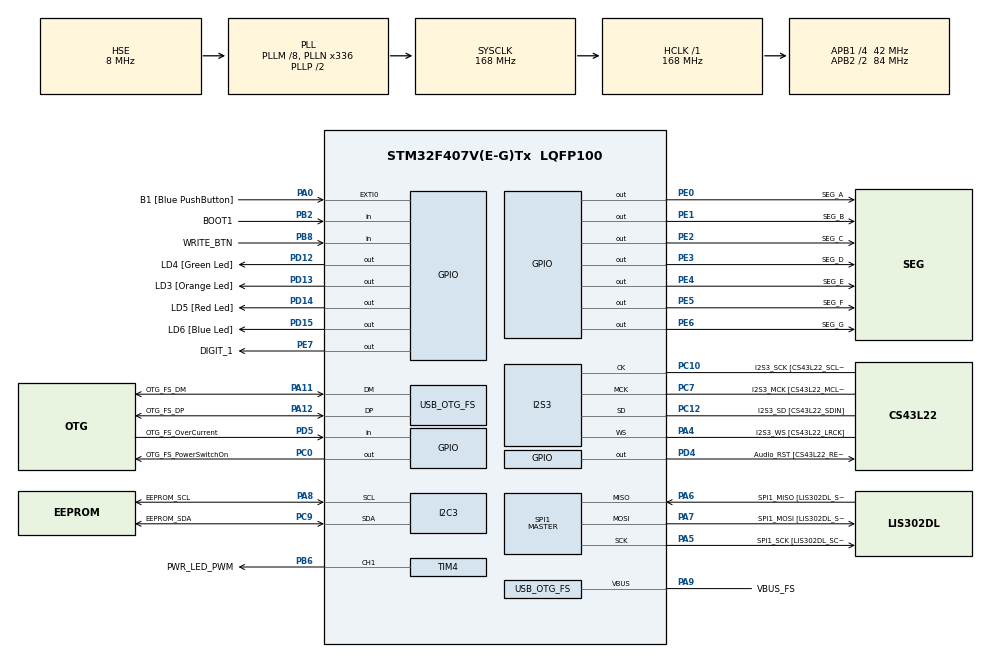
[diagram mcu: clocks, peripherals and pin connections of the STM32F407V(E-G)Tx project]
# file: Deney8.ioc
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I2S3.AudioFreq-Half_Duplex_Master=I2S_AUDIOFREQ_96K
I2S3.ErrorAudioFreq=-2.34 %
I2S3.ErrorAudioFreq-Half_Duplex_Master=0.8 %
I2S3.FullDuplexMode=I2S_FULLDUPLEXMODE_DISABLE
I2S3.Instance=SPI$Index
I2S3.RealAudioFreq=93.75 KHz
I2S3.RealAudioFreq-Half_Duplex_Master=96.774 KHz
I2S3.VirtualMode=I2S_MODE_MASTER
Mcu.Family=STM32F4
Mcu.Name=STM32F407V(E-G)Tx
Mcu.Package=LQFP100
NVIC.OTG_FS_IRQn=true\:0\:0\:false\:false\:true\:true\:true\:true
NVIC.PriorityGroup=NVIC_PRIORITYGROUP_0
PA0-WKUP.GPIO_Label=B1 [Blue PushButton]
PA0-WKUP.GPIO_ModeDefaultEXTI=GPIO_MODE_EVT_RISING
PA0-WKUP.GPIO_PuPd=GPIO_NOPULL
PA0-WKUP.Signal=GPXTI0
PA10.GPIO_Label=OTG_FS_ID
PA10.GPIO_Mode=GPIO_MODE_AF_PP
PA10.GPIO_PuPd=GPIO_NOPULL
PA10.GPIO_Speed=GPIO_SPEED_FREQ_LOW
PA10.Signal=USB_OTG_FS_ID
PA11.GPIO_Label=OTG_FS_DM
PA11.GPIO_Mode=GPIO_MODE_AF_PP
PA11.GPIO_PuPd=GPIO_NOPULL
PA11.GPIO_Speed=GPIO_SPEED_FREQ_LOW
PA11.Mode=Host_Only
PA11.Signal=USB_OTG_FS_DM
PA12.GPIO_Label=OTG_FS_DP
PA12.GPIO_Mode=GPIO_MODE_AF_PP
PA12.GPIO_PuPd=GPIO_NOPULL
PA12.GPIO_Speed=GPIO_SPEED_FREQ_LOW
PA12.Mode=Host_Only
PA12.Signal=USB_OTG_FS_DP
PA13.GPIO_Label=SWDIO
PA13.Mode=Serial_Wire
PA13.Signal=SYS_JTMS-SWDIO
PA14.GPIO_Label=SWCLK
PA14.Mode=Serial_Wire
PA14.Signal=SYS_JTCK-SWCLK
PA4.GPIO_Label=I2S3_WS [CS43L22_LRCK]
PA4.GPIO_Mode=GPIO_MODE_AF_PP
PA4.GPIO_PuPd=GPIO_NOPULL
PA4.GPIO_Speed=GPIO_SPEED_FREQ_LOW
PA4.Mode=Half_Duplex_Master
PA4.Signal=I2S3_WS
PA5.GPIO_Label=SPI1_SCK [LIS302DL_SCL/SPC]
PA5.GPIO_Mode=GPIO_MODE_AF_PP
PA5.GPIO_PuPd=GPIO_NOPULL
PA5.GPIO_Speed=GPIO_SPEED_FREQ_LOW
PA5.Mode=Full_Duplex_Master
PA5.Signal=SPI1_SCK
PA6.GPIO_Label=SPI1_MISO [LIS302DL_SDO]
PA6.GPIO_Mode=GPIO_MODE_AF_PP
PA6.GPIO_PuPd=GPIO_NOPULL
PA6.GPIO_Speed=GPIO_SPEED_FREQ_LOW
PA6.Mode=Full_Duplex_Master
PA6.Signal=SPI1_MISO
PA7.GPIO_Label=SPI1_MOSI [LIS302DL_SDA/SDI/SDO]
PA7.GPIO_Mode=GPIO_MODE_AF_PP
PA7.GPIO_PuPd=GPIO_NOPULL
PA7.GPIO_Speed=GPIO_SPEED_FREQ_LOW
PA7.Mode=Full_Duplex_Master
PA7.Signal=SPI1_MOSI
PA8.GPIO_Label=EEPROM_SCL
PA8.Mode=I2C
PA8.Signal=I2C3_SCL
PA9.GPIO_Label=VBUS_FS
PA9.GPIO_Mode=GPIO_MODE_INPUT
PA9.GPIO_PuPd=GPIO_NOPULL
PA9.Mode=Activate_VBUS
PA9.Signal=USB_OTG_FS_VBUS
PB10.GPIO_Label=CLK_IN [MP45DT02_CLK]
PB10.GPIO_Mode=GPIO_MODE_AF_PP
PB10.GPIO_PuPd=GPIO_NOPULL
PB10.GPIO_Speed=GPIO_SPEED_FREQ_LOW
PB10.Signal=I2S2_CK
PB2.GPIO_Label=BOOT1
PB2.GPIO_Mode=GPIO_MODE_INPUT
PB2.GPIO_PuPd=GPIO_NOPULL
PB2.Signal=GPIO_Input
PB3.GPIO_Label=SWO
PB3.Signal=SYS_JTDO-SWO
PB6.GPIO_Label=PWR_LED_PWM
PB6.Signal=S_TIM4_CH1
PB8.GPIO_Label=WRITE_BTN
PB8.GPIO_PuPd=GPIO_PULLDOWN
PB8.Signal=GPIO_Input
PB9.GPIO_Label=Audio_SDA [CS43L22_SDA]
PB9.GPIO_Mode=GPIO_MODE_AF_OD
PB9.GPIO_Pu=GPIO_PULLUP
PB9.GPIO_PuPd=GPIO_NOPULL
PB9.GPIO_Speed=GPIO_SPEED_FREQ_LOW
PB9.Signal=I2C1_SDA
PC0.GPIO_Label=OTG_FS_PowerSwitchOn
PC0.GPIO_PuPd=GPIO_NOPULL
PC0.GPIO_Speed=GPIO_SPEED_FREQ_LOW
PC0.PinState=GPIO_PIN_SET
PC0.Signal=GPIO_Output
PC10.GPIO_Label=I2S3_SCK [CS43L22_SCLK]
PC10.GPIO_Mode=GPIO_MODE_AF_PP
PC10.GPIO_PuPd=GPIO_NOPULL
PC10.GPIO_Speed=GPIO_SPEED_FREQ_LOW
PC10.Mode=Half_Duplex_Master
PC10.Signal=I2S3_CK
PC12.GPIO_Label=I2S3_SD [CS43L22_SDIN]
PC12.GPIO_Mode=GPIO_MODE_AF_PP
PC12.GPIO_PuPd=GPIO_NOPULL
PC12.GPIO_Speed=GPIO_SPEED_FREQ_LOW
PC12.Mode=Half_Duplex_Master
PC12.Signal=I2S3_SD
PC14-OSC32_IN.GPIO_Label=PC14-OSC32_IN
PC14-OSC32_IN.Mode=LSE-External-Oscillator
PC14-OSC32_IN.Signal=RCC_OSC32_IN
PC15-OSC32_OUT.GPIO_Label=PC15-OSC32_OUT
PC15-OSC32_OUT.Mode=LSE-External-Oscillator
PC15-OSC32_OUT.Signal=RCC_OSC32_OUT
PC3.GPIO_Label=PDM_OUT [MP45DT02_DOUT]
PC3.GPIO_Mode=GPIO_MODE_AF_PP
PC3.GPIO_PuPd=GPIO_NOPULL
PC3.GPIO_Speed=GPIO_SPEED_FREQ_LOW
PC3.Signal=I2S2_SD
PC7.GPIO_Label=I2S3_MCK [CS43L22_MCLK]
PC7.GPIO_Mode=GPIO_MODE_AF_PP
PC7.GPIO_PuPd=GPIO_NOPULL
PC7.GPIO_Speed=GPIO_SPEED_FREQ_LOW
PC7.Mode=Master_Clock_Activated
PC7.Signal=I2S3_MCK
PC9.GPIO_Label=EEPROM_SDA
PC9.Mode=I2C
PC9.Signal=I2C3_SDA
PD12.GPIO_Label=LD4 [Green Led]
PD12.GPIO_PuPd=GPIO_NOPULL
PD12.GPIO_Speed=GPIO_SPEED_FREQ_LOW
PD12.Signal=GPIO_Output
PD13.GPIO_Label=LD3 [Orange Led]
PD13.GPIO_PuPd=GPIO_NOPULL
PD13.GPIO_Speed=GPIO_SPEED_FREQ_LOW
PD13.Signal=GPIO_Output
PD14.GPIO_Label=LD5 [Red Led]
PD14.GPIO_PuPd=GPIO_NOPULL
PD14.GPIO_Speed=GPIO_SPEED_FREQ_LOW
PD14.Signal=GPIO_Output
PD15.GPIO_Label=LD6 [Blue Led]
PD15.GPIO_PuPd=GPIO_NOPULL
PD15.GPIO_Speed=GPIO_SPEED_FREQ_LOW
PD15.Signal=GPIO_Output
PD4.GPIO_Label=Audio_RST [CS43L22_RESET]
PD4.GPIO_PuPd=GPIO_NOPULL
PD4.GPIO_Speed=GPIO_SPEED_FREQ_LOW
PD4.Signal=GPIO_Output
PD5.GPIO_Label=OTG_FS_OverCurrent
PD5.GPIO_Mode=GPIO_MODE_INPUT
PD5.GPIO_PuPd=GPIO_NOPULL
PD5.Signal=GPIO_Input
PE0.GPIO_Label=SEG_A
PE0.Signal=GPIO_Output
PE1.GPIO_Label=SEG_B
PE1.Signal=GPIO_Output
PE2.GPIO_Label=SEG_C
PE2.Signal=GPIO_Output
PE3.GPIO_Label=SEG_D
PE3.Signal=GPIO_Output
PE4.GPIO_Label=SEG_E
PE4.Signal=GPIO_Output
PE5.GPIO_Label=SEG_F
PE5.Signal=GPIO_Output
PE6.GPIO_Label=SEG_G
PE6.Signal=GPIO_Output
PE7.GPIO_Label=DIGIT_1
PE7.Signal=GPIO_Output
PH0-OSC_IN.GPIO_Label=PH0-OSC_IN
PH0-OSC_IN.Mode=HSE-External-Oscillator
PH0-OSC_IN.Signal=RCC_OSC_IN
PH1-OSC_OUT.GPIO_Label=PH1-OSC_OUT
PH1-OSC_OUT.Mode=HSE-External-Oscillator
PH1-OSC_OUT.Signal=RCC_OSC_OUT
ProjectManager.HeapSize=0x200
ProjectManager.StackSize=0x400
ProjectManager.TargetToolchain=STM32CubeIDE
RCC.48MHZClocksFreq_Value=48000000
RCC.AHBFreq_Value=168000000
RCC.APB1CLKDivider=RCC_HCLK_DIV4
RCC.APB1Freq_Value=42000000
RCC.APB1TimFreq_Value=84000000
RCC.APB2CLKDivider=RCC_HCLK_DIV2
RCC.APB2Freq_Value=84000000
RCC.APB2TimFreq_Value=168000000
RCC.CortexFreq_Value=168000000
RCC.HCLKFreq_Value=168000000
RCC.HSE_VALUE=8000000
RCC.HSI_VALUE=16000000
RCC.PLLM=8
RCC.PLLN=336
RCC.PLLQ=7
RCC.SYSCLKFreq_VALUE=168000000
RCC.SYSCLKSource=RCC_SYSCLKSOURCE_PLLCLK
RCC.VCOOutputFreq_Value=336000000
SH.S_TIM4_CH1.0=TIM4_CH1,PWM Generation1 CH1
SPI1.BaudRatePrescaler-Full_Duplex_Master=SPI_BAUDRATEPRESCALER_2
SPI1.CalculateBaudRate-Full_Duplex_Master=42.0 MBits/s
SPI1.Direction=SPI_DIRECTION_2LINES
SPI1.Mode=SPI_MODE_MASTER
SPI1.Mode-Full_Duplex_Master=SPI_MODE_MASTER
SPI1.VirtualType=VM_MASTER
TIM4.Channel-PWM\ Generation1\ CH1=TIM_CHANNEL_1
TIM4.Period=1000-1
TIM4.Prescaler=84-1
USB_HOST.BSP.number=1
USB_HOST.USBH_HandleTypeDef-CDC_FS=hUsbHostFS
USB_HOST.VirtualModeFS=Cdc
USB_HOST0.BSP.STBoard=false
USB_HOST0.BSP.api=Unknown
USB_HOST0.BSP.instance=PC0
USB_HOST0.BSP.ip=GPIO
USB_HOST0.BSP.mode=Output
USB_HOST0.BSP.name=Drive_VBUS_FS
USB_HOST0.BSP.solution=PC0
USB_OTG_FS.VirtualMode=Host_Only
USB_OTG_FS.phy_itface=HCD_PHY_EMBEDDED
VP_TIM4_VS_ClockSourceINT.Mode=Internal
VP_USB_HOST_VS_USB_HOST_CDC_FS.Mode=CDC_FS
board=STM32F407G-DISC1

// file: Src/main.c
/* USER CODE BEGIN Header */
/**
  ******************************************************************************
  * @file           : main.c
  * @brief          : Main program body
  ******************************************************************************
  * @attention
  *
  * Copyright (c) 2026 STMicroelectronics.
  * All rights reserved.
  *
  * This software is licensed under terms that can be found in the LICENSE file
  * in the root directory of this software component.
  * If no LICENSE file comes with this software, it is provided AS-IS.
  *
  ******************************************************************************
  */
/* USER CODE END Header */
#include "main.h"
#include "usb_host.h"

I2C_HandleTypeDef hi2c3;

I2S_HandleTypeDef hi2s3;

SPI_HandleTypeDef hspi1;

TIM_HandleTypeDef htim4;

/* USER CODE BEGIN PV */
uint8_t sayac = 0;        // EEPROM'a yazılacak ve okunacak ana değer
uint8_t okunan_deger = 0; // Karşılaştırma için geçici değişken

// 7-Segment Ortak Katot Rakam Map Tablosu (0-9 arası)
uint8_t segment_map[10] = {0x3F, 0x06, 0x5B, 0x4F, 0x66, 0x6D, 0x7D, 0x07, 0x7F, 0x6F};

#define EEPROM_ADDR 0xA2 // ArmApp-18 EEPROM I2C Adresi
/* USER CODE END PV */

void SystemClock_Config(void);
static void MX_GPIO_Init(void);
static void MX_I2S3_Init(void);
static void MX_SPI1_Init(void);
static void MX_I2C3_Init(void);
static void MX_TIM4_Init(void);
void MX_USB_HOST_Process(void);

/* USER CODE BEGIN PFP */
void EEPROM_Write(uint16_t addr, uint8_t data);
uint8_t EEPROM_Read(uint16_t addr);
void Rakam_Bas(uint8_t rakam);
/* USER CODE END PFP */

int main(void)
{

  /* MCU Configuration--------------------------------------------------------*/

  /* Reset of all peripherals, Initializes the Flash interface and the Systick. */
  HAL_Init();

  /* Configure the system clock */
  SystemClock_Config();

  /* Initialize all configured peripherals */
  MX_GPIO_Init();
  MX_I2S3_Init();
  MX_SPI1_Init();
  MX_USB_HOST_Init();
  MX_I2C3_Init();
  MX_TIM4_Init();
  /* USER CODE BEGIN 2 */
  HAL_TIM_PWM_Start(&htim4, TIM_CHANNEL_1); // Power LED PWM birimini başlat
  __HAL_TIM_SET_COMPARE(&htim4, TIM_CHANNEL_1, 100); // Başlangıç parlaklığı (%10)
  HAL_Delay(100); // EEPROM hazırlanma süresi

  sayac = EEPROM_Read(0x0001); // Son kaydedilen değeri oku
  if(sayac > 9) sayac = 0;     // Hatalı değer varsa sıfırla
  /* USER CODE END 2 */

  /* Infinite loop */
  /* USER CODE BEGIN WHILE */
    while (1) {
        Rakam_Bas(sayac);

        if(HAL_GPIO_ReadPin(WRITE_BTN_GPIO_Port, WRITE_BTN_Pin) == GPIO_PIN_SET) {
            HAL_Delay(50);

            if(HAL_GPIO_ReadPin(WRITE_BTN_GPIO_Port, WRITE_BTN_Pin) == GPIO_PIN_SET) {
                __HAL_TIM_SET_COMPARE(&htim4, TIM_CHANNEL_1, 900);

                sayac = (sayac + 1) % 10;
                EEPROM_Write(0x0001, sayac);

                while(HAL_GPIO_ReadPin(WRITE_BTN_GPIO_Port, WRITE_BTN_Pin) == GPIO_PIN_SET);
                HAL_Delay(50);

                __HAL_TIM_SET_COMPARE(&htim4, TIM_CHANNEL_1, 100);
            }
        }
      /* USER CODE END WHILE */
      MX_USB_HOST_Process();
    }
}

void SystemClock_Config(void)
{
  RCC_OscInitTypeDef RCC_OscInitStruct = {0};
  RCC_ClkInitTypeDef RCC_ClkInitStruct = {0};

  /** Configure the main internal regulator output voltage
  */
  __HAL_RCC_PWR_CLK_ENABLE();
  __HAL_PWR_VOLTAGESCALING_CONFIG(PWR_REGULATOR_VOLTAGE_SCALE1);

  /** Initializes the RCC Oscillators according to the specified parameters
  * in the RCC_OscInitTypeDef structure.
  */
  RCC_OscInitStruct.OscillatorType = RCC_OSCILLATORTYPE_HSE;
  RCC_OscInitStruct.HSEState = RCC_HSE_ON;
  RCC_OscInitStruct.PLL.PLLState = RCC_PLL_ON;
  RCC_OscInitStruct.PLL.PLLSource = RCC_PLLSOURCE_HSE;
  RCC_OscInitStruct.PLL.PLLM = 8;
  RCC_OscInitStruct.PLL.PLLN = 336;
  RCC_OscInitStruct.PLL.PLLP = RCC_PLLP_DIV2;
  RCC_OscInitStruct.PLL.PLLQ = 7;
  if (HAL_RCC_OscConfig(&RCC_OscInitStruct) != HAL_OK)
  {
    Error_Handler();
  }

  /** Initializes the CPU, AHB and APB buses clocks
  */
  RCC_ClkInitStruct.ClockType = RCC_CLOCKTYPE_HCLK|RCC_CLOCKTYPE_SYSCLK
                              |RCC_CLOCKTYPE_PCLK1|RCC_CLOCKTYPE_PCLK2;
  RCC_ClkInitStruct.SYSCLKSource = RCC_SYSCLKSOURCE_PLLCLK;
  RCC_ClkInitStruct.AHBCLKDivider = RCC_SYSCLK_DIV1;
  RCC_ClkInitStruct.APB1CLKDivider = RCC_HCLK_DIV4;
  RCC_ClkInitStruct.APB2CLKDivider = RCC_HCLK_DIV2;

  if (HAL_RCC_ClockConfig(&RCC_ClkInitStruct, FLASH_LATENCY_5) != HAL_OK)
  {
    Error_Handler();
  }
}

static void MX_I2C3_Init(void)
{

  hi2c3.Instance = I2C3;
  hi2c3.Init.ClockSpeed = 100000;
  hi2c3.Init.DutyCycle = I2C_DUTYCYCLE_2;
  hi2c3.Init.OwnAddress1 = 0;
  hi2c3.Init.AddressingMode = I2C_ADDRESSINGMODE_7BIT;
  hi2c3.Init.DualAddressMode = I2C_DUALADDRESS_DISABLE;
  hi2c3.Init.OwnAddress2 = 0;
  hi2c3.Init.GeneralCallMode = I2C_GENERALCALL_DISABLE;
  hi2c3.Init.NoStretchMode = I2C_NOSTRETCH_DISABLE;
  if (HAL_I2C_Init(&hi2c3) != HAL_OK)
  {
    Error_Handler();
  }

}

static void MX_I2S3_Init(void)
{

  hi2s3.Instance = SPI3;
  hi2s3.Init.Mode = I2S_MODE_MASTER_TX;
  hi2s3.Init.Standard = I2S_STANDARD_PHILIPS;
  hi2s3.Init.DataFormat = I2S_DATAFORMAT_16B;
  hi2s3.Init.MCLKOutput = I2S_MCLKOUTPUT_ENABLE;
  hi2s3.Init.AudioFreq = I2S_AUDIOFREQ_96K;
  hi2s3.Init.CPOL = I2S_CPOL_LOW;
  hi2s3.Init.ClockSource = I2S_CLOCK_PLL;
  hi2s3.Init.FullDuplexMode = I2S_FULLDUPLEXMODE_DISABLE;
  if (HAL_I2S_Init(&hi2s3) != HAL_OK)
  {
    Error_Handler();
  }

}

static void MX_SPI1_Init(void)
{

  /* SPI1 parameter configuration*/
  hspi1.Instance = SPI1;
  hspi1.Init.Mode = SPI_MODE_MASTER;
  hspi1.Init.Direction = SPI_DIRECTION_2LINES;
  hspi1.Init.DataSize = SPI_DATASIZE_8BIT;
  hspi1.Init.CLKPolarity = SPI_POLARITY_LOW;
  hspi1.Init.CLKPhase = SPI_PHASE_1EDGE;
  hspi1.Init.NSS = SPI_NSS_SOFT;
  hspi1.Init.BaudRatePrescaler = SPI_BAUDRATEPRESCALER_2;
  hspi1.Init.FirstBit = SPI_FIRSTBIT_MSB;
  hspi1.Init.TIMode = SPI_TIMODE_DISABLE;
  hspi1.Init.CRCCalculation = SPI_CRCCALCULATION_DISABLE;
  hspi1.Init.CRCPolynomial = 10;
  if (HAL_SPI_Init(&hspi1) != HAL_OK)
  {
    Error_Handler();
  }

}

static void MX_TIM4_Init(void)
{

  TIM_ClockConfigTypeDef sClockSourceConfig = {0};
  TIM_MasterConfigTypeDef sMasterConfig = {0};
  TIM_OC_InitTypeDef sConfigOC = {0};

  htim4.Instance = TIM4;
  htim4.Init.Prescaler = 84-1;
  htim4.Init.CounterMode = TIM_COUNTERMODE_UP;
  htim4.Init.Period = 1000-1;
  htim4.Init.ClockDivision = TIM_CLOCKDIVISION_DIV1;
  htim4.Init.AutoReloadPreload = TIM_AUTORELOAD_PRELOAD_DISABLE;
  if (HAL_TIM_Base_Init(&htim4) != HAL_OK)
  {
    Error_Handler();
  }
  sClockSourceConfig.ClockSource = TIM_CLOCKSOURCE_INTERNAL;
  if (HAL_TIM_ConfigClockSource(&htim4, &sClockSourceConfig) != HAL_OK)
  {
    Error_Handler();
  }
  if (HAL_TIM_PWM_Init(&htim4) != HAL_OK)
  {
    Error_Handler();
  }
  sMasterConfig.MasterOutputTrigger = TIM_TRGO_RESET;
  sMasterConfig.MasterSlaveMode = TIM_MASTERSLAVEMODE_DISABLE;
  if (HAL_TIMEx_MasterConfigSynchronization(&htim4, &sMasterConfig) != HAL_OK)
  {
    Error_Handler();
  }
  sConfigOC.OCMode = TIM_OCMODE_PWM1;
  sConfigOC.Pulse = 0;
  sConfigOC.OCPolarity = TIM_OCPOLARITY_HIGH;
  sConfigOC.OCFastMode = TIM_OCFAST_DISABLE;
  if (HAL_TIM_PWM_ConfigChannel(&htim4, &sConfigOC, TIM_CHANNEL_1) != HAL_OK)
  {
    Error_Handler();
  }
  HAL_TIM_MspPostInit(&htim4);

}

static void MX_GPIO_Init(void)
{
  GPIO_InitTypeDef GPIO_InitStruct = {0};

  /* GPIO Ports Clock Enable */
  __HAL_RCC_GPIOE_CLK_ENABLE();
  __HAL_RCC_GPIOC_CLK_ENABLE();
  __HAL_RCC_GPIOH_CLK_ENABLE();
  __HAL_RCC_GPIOA_CLK_ENABLE();
  __HAL_RCC_GPIOB_CLK_ENABLE();
  __HAL_RCC_GPIOD_CLK_ENABLE();

  /*Configure GPIO pin Output Level */
  HAL_GPIO_WritePin(GPIOE, SEG_C_Pin|SEG_D_Pin|SEG_E_Pin|SEG_F_Pin
                          |SEG_G_Pin|DIGIT_1_Pin|SEG_A_Pin|SEG_B_Pin, GPIO_PIN_RESET);

  /*Configure GPIO pin Output Level */
  HAL_GPIO_WritePin(OTG_FS_PowerSwitchOn_GPIO_Port, OTG_FS_PowerSwitchOn_Pin, GPIO_PIN_SET);

  /*Configure GPIO pin Output Level */
  HAL_GPIO_WritePin(GPIOD, LD4_Pin|LD3_Pin|LD5_Pin|LD6_Pin
                          |Audio_RST_Pin, GPIO_PIN_RESET);

  /*Configure GPIO pins : SEG_C_Pin SEG_D_Pin SEG_E_Pin SEG_F_Pin
                           SEG_G_Pin DIGIT_1_Pin SEG_A_Pin SEG_B_Pin */
  GPIO_InitStruct.Pin = SEG_C_Pin|SEG_D_Pin|SEG_E_Pin|SEG_F_Pin
                          |SEG_G_Pin|DIGIT_1_Pin|SEG_A_Pin|SEG_B_Pin;
  GPIO_InitStruct.Mode = GPIO_MODE_OUTPUT_PP;
  GPIO_InitStruct.Pull = GPIO_NOPULL;
  GPIO_InitStruct.Speed = GPIO_SPEED_FREQ_LOW;
  HAL_GPIO_Init(GPIOE, &GPIO_InitStruct);

  /*Configure GPIO pin : OTG_FS_PowerSwitchOn_Pin */
  GPIO_InitStruct.Pin = OTG_FS_PowerSwitchOn_Pin;
  GPIO_InitStruct.Mode = GPIO_MODE_OUTPUT_PP;
  GPIO_InitStruct.Pull = GPIO_NOPULL;
  GPIO_InitStruct.Speed = GPIO_SPEED_FREQ_LOW;
  HAL_GPIO_Init(OTG_FS_PowerSwitchOn_GPIO_Port, &GPIO_InitStruct);

  /*Configure GPIO pin : PDM_OUT_Pin */
  GPIO_InitStruct.Pin = PDM_OUT_Pin;
  GPIO_InitStruct.Mode = GPIO_MODE_AF_PP;
  GPIO_InitStruct.Pull = GPIO_NOPULL;
  GPIO_InitStruct.Speed = GPIO_SPEED_FREQ_LOW;
  GPIO_InitStruct.Alternate = GPIO_AF5_SPI2;
  HAL_GPIO_Init(PDM_OUT_GPIO_Port, &GPIO_InitStruct);

  /*Configure GPIO pin : B1_Pin */
  GPIO_InitStruct.Pin = B1_Pin;
  GPIO_InitStruct.Mode = GPIO_MODE_EVT_RISING;
  GPIO_InitStruct.Pull = GPIO_NOPULL;
  HAL_GPIO_Init(B1_GPIO_Port, &GPIO_InitStruct);

  /*Configure GPIO pin : BOOT1_Pin */
  GPIO_InitStruct.Pin = BOOT1_Pin;
  GPIO_InitStruct.Mode = GPIO_MODE_INPUT;
  GPIO_InitStruct.Pull = GPIO_NOPULL;
  HAL_GPIO_Init(BOOT1_GPIO_Port, &GPIO_InitStruct);

  /*Configure GPIO pin : CLK_IN_Pin */
  GPIO_InitStruct.Pin = CLK_IN_Pin;
  GPIO_InitStruct.Mode = GPIO_MODE_AF_PP;
  GPIO_InitStruct.Pull = GPIO_NOPULL;
  GPIO_InitStruct.Speed = GPIO_SPEED_FREQ_LOW;
  GPIO_InitStruct.Alternate = GPIO_AF5_SPI2;
  HAL_GPIO_Init(CLK_IN_GPIO_Port, &GPIO_InitStruct);

  /*Configure GPIO pins : LD4_Pin LD3_Pin LD5_Pin LD6_Pin
                           Audio_RST_Pin */
  GPIO_InitStruct.Pin = LD4_Pin|LD3_Pin|LD5_Pin|LD6_Pin
                          |Audio_RST_Pin;
  GPIO_InitStruct.Mode = GPIO_MODE_OUTPUT_PP;
  GPIO_InitStruct.Pull = GPIO_NOPULL;
  GPIO_InitStruct.Speed = GPIO_SPEED_FREQ_LOW;
  HAL_GPIO_Init(GPIOD, &GPIO_InitStruct);

  /*Configure GPIO pin : OTG_FS_OverCurrent_Pin */
  GPIO_InitStruct.Pin = OTG_FS_OverCurrent_Pin;
  GPIO_InitStruct.Mode = GPIO_MODE_INPUT;
  GPIO_InitStruct.Pull = GPIO_NOPULL;
  HAL_GPIO_Init(OTG_FS_OverCurrent_GPIO_Port, &GPIO_InitStruct);

  /*Configure GPIO pin : WRITE_BTN_Pin */
  GPIO_InitStruct.Pin = WRITE_BTN_Pin;
  GPIO_InitStruct.Mode = GPIO_MODE_INPUT;
  GPIO_InitStruct.Pull = GPIO_PULLDOWN;
  HAL_GPIO_Init(WRITE_BTN_GPIO_Port, &GPIO_InitStruct);

  /*Configure GPIO pin : Audio_SDA_Pin */
  GPIO_InitStruct.Pin = Audio_SDA_Pin;
  GPIO_InitStruct.Mode = GPIO_MODE_AF_OD;
  GPIO_InitStruct.Pull = GPIO_PULLUP;
  GPIO_InitStruct.Speed = GPIO_SPEED_FREQ_LOW;
  GPIO_InitStruct.Alternate = GPIO_AF4_I2C1;
  HAL_GPIO_Init(Audio_SDA_GPIO_Port, &GPIO_InitStruct);

}

/* USER CODE BEGIN 4 */
void EEPROM_Write(uint16_t addr, uint8_t data) {
    HAL_I2C_Mem_Write(&hi2c3, 0xA2, addr, I2C_MEMADD_SIZE_8BIT, &data, 1, 100);
    HAL_Delay(10);
}

uint8_t EEPROM_Read(uint16_t addr) {
    uint8_t data = 0;
    HAL_I2C_Mem_Read(&hi2c3, 0xA2, addr, I2C_MEMADD_SIZE_8BIT, &data, 1, 100);
    return data;
}

void Rakam_Bas(uint8_t rakam) {
    HAL_GPIO_WritePin(GPIOE, DIGIT_1_Pin, GPIO_PIN_SET);
    GPIOE->ODR = (GPIOE->ODR & 0xFF80) | segment_map[rakam % 10];
}
/* USER CODE END 4 */

void Error_Handler(void)
{
  __disable_irq();
  while (1)
  {
  }
}
